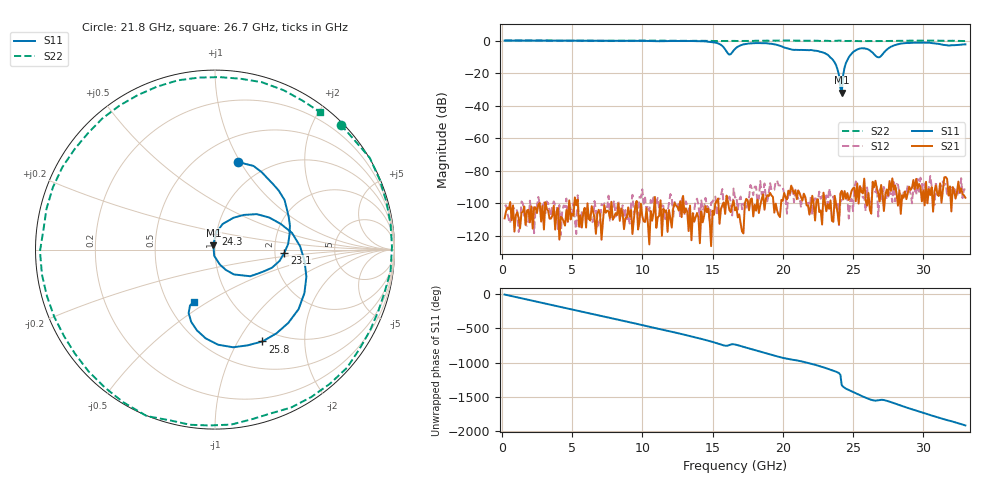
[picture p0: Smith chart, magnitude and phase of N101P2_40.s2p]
# GHZ S RI R 50
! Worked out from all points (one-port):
!   329 points, 200 MHz to 33 GHz, reference 50 ohm
!   lowest |S11| = -32.1 dB at 24.2 GHz (marker M1), VSWR 1.05, Z = 49.1 + j2.29 ohm
!   |S11| at or under -10 dB: 23.35 GHz to 24.73 GHz (1.378 GHz wide, 5.73 % of centre); 26.69 GHz to 26.93 GHz (231.2 MHz wide, 0.862 % of centre)
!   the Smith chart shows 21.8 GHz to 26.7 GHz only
!   S11 on the Smith chart (normalised r, x): 21.8 GHz: 0.74, +0.98; 23.1 GHz: 2.26, -0.09; 24.3 GHz: 0.99, +0.17; 25.8 GHz: 0.83, -1.27; 26.7 GHz: 0.67, -0.44
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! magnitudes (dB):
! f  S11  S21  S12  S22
! 200 MHz  0.0  -109.3  -101.7  0.0
! 5.7 GHz  -0.1  -115.0  -104.8  -0.1
! 11.2 GHz  -0.4  -107.8  -103.4  -0.1
! 15.2 GHz  -1.2  -100.2  -95.9  -0.2
! 16.2 GHz  -8.7  -104.3  -95.9  -0.3
! 16.6 GHz  -5.2  -104.4  -96.6  -0.3
! 18.4 GHz  -1.6  -101.2  -86.4  -0.2
! 21.8 GHz  -5.9  -101.4  -98.9  -0.1
! 22.1 GHz  -6.0  -95.4  -107.2  0.0
! 23.1 GHz  -8.2  -104.9  -95.2  -0.1
! 23.8 GHz  -15.2  -100.8  -102.1  -0.1
! 24 GHz  -21.2  -112.9  -113.5  0.0
! 24.1 GHz  -29.2  -94.0  -98.9  -0.1
! 24.2 GHz  -32.1  -92.4  -98.1  -0.1
! 24.3 GHz  -21.2  -97.6  -98.9  -0.2
! 24.5 GHz  -13.7  -97.3  -95.1  -0.3
! 24.8 GHz  -9.1  -96.0  -99.0  -0.2
! 25.8 GHz  -4.8  -84.9  -96.2  -0.3
! 26.7 GHz  -10.0  -91.0  -89.9  -0.3
! 27.6 GHz  -4.3  -86.4  -93.9  -0.2
! 29.4 GHz  -1.3  -91.4  -91.9  -0.2
! 33 GHz  -2.3  -96.7  -91.5  -0.3
